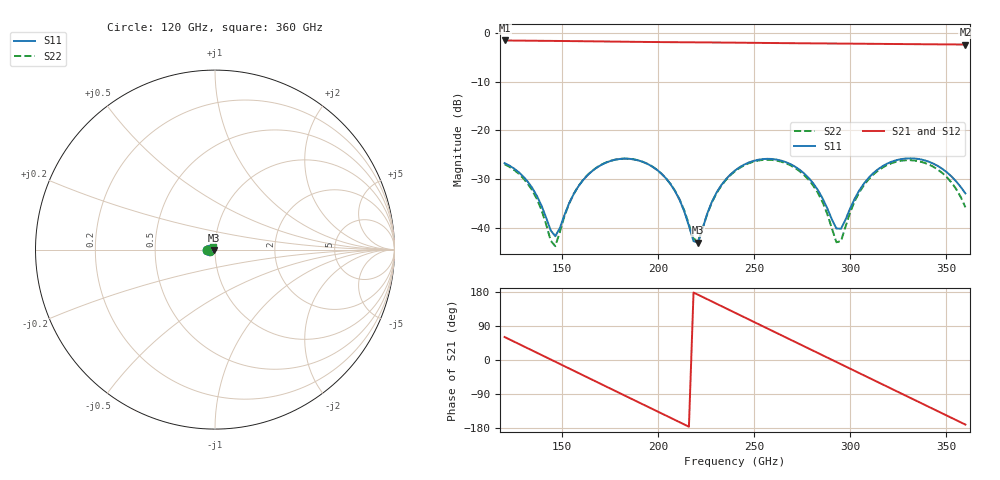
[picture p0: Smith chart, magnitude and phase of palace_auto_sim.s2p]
#  GHZ S DB R 50
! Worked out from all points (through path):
!   101 points, 120 GHz to 360 GHz, reference 50 ohm
!   highest |S21| = -1.48 dB at 120 GHz (marker M1); lowest = -2.3 dB at 360 GHz (marker M2)
!   group delay of S21, straight-line fit = 6.84 ps
!   lowest |S11| = -43.1 dB at 220.8 GHz (marker M3), VSWR 1.01, Z = 49.4 - j0.34 ohm
!   |S11| at or under -10 dB: start of sweep to end of sweep
!   |S22| runs from -43.8 to -25.8 dB; largest |S21 - S12| = 9.5e-14
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120  -26.71 -174.0  -1.48 60.6  -1.48 60.6  -26.95 -176.2
134.4  -31.82 159.4  -1.53 25.1  -1.53 25.1  -32.33 155.5
146.4  -41.75 -154.8  -1.58 -4.5  -1.58 -4.5  -43.80 -146.9
153.6  -34.99 -113.2  -1.60 -22.3  -1.60 -22.3  -35.03 -107.7
160.8  -30.24 -118.7  -1.63 -40.1  -1.63 -40.1  -30.19 -116.1
180  -25.86 -157.5  -1.72 -87.5  -1.72 -87.5  -25.84 -157.0
189.6  -26.14 -178.7  -1.77 -111.1  -1.77 -111.1  -26.14 -178.6
201.6  -28.85 156.3  -1.81 -140.6  -1.81 -140.6  -28.83 156.2
208.8  -32.49 145.1  -1.84 -158.3  -1.84 -158.3  -32.43 145.0
218.4  -42.76 172.7  -1.86 178.0  -1.86 178.0  -42.24 171.3
220.8  -43.06 -150.7  -1.87 172.1  -1.87 172.1  -42.69 -154.9
230.4  -32.77 -118.2  -1.90 148.4  -1.90 148.4  -32.89 -121.1
240  -28.23 -133.1  -1.93 124.8  -1.93 124.8  -28.38 -135.8
259.2  -25.86 -172.4  -2.00 77.5  -2.00 77.5  -26.05 -176.1
280.8  -30.90 148.6  -2.07 24.3  -2.07 24.3  -31.37 141.6
292.8  -40.17 176.4  -2.11 -5.2  -2.11 -5.2  -42.99 170.7
295.2  -40.21 -158.5  -2.12 -11.1  -2.12 -11.1  -42.76 -153.6
304.8  -32.28 -127.8  -2.15 -34.7  -2.15 -34.7  -32.68 -125.4
321.6  -26.42 -153.1  -2.20 -76.1  -2.20 -76.1  -26.72 -155.7
331.2  -25.72 -171.7  -2.23 -99.7  -2.23 -99.7  -26.11 -176.3
343.2  -26.79 166.1  -2.27 -129.1  -2.27 -129.1  -27.44 158.1
360  -32.94 151.8  -2.31 -170.4  -2.31 -170.4  -35.81 131.9
